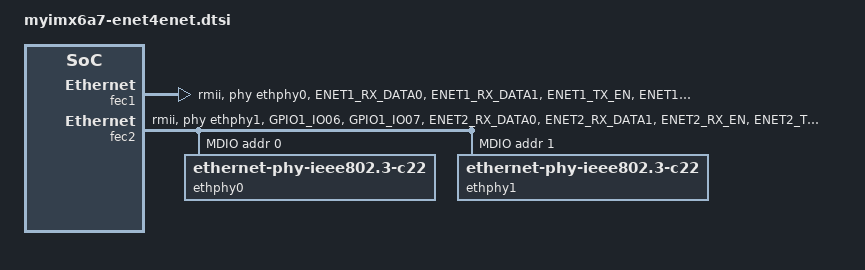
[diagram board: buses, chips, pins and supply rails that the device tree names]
/*
 * MYZR Technology Co.,Ltd
 * http://www.myzr.com.cn
 * Tang Bin <tangb@myzr.com.cn>
 */

&iomuxc {
	myimx6a7-enet-pad {
		pinctrl_gpio_enet2_smi: gpioenet2smigrp {
 			fsl,pins = <
				MX6UL_PAD_GPIO1_IO06__ENET2_MDIO                0x1b0b0
				MX6UL_PAD_GPIO1_IO07__ENET2_MDC                 0x1b0b0
 			>;
		};
		pinctrl_enet1_enet1: enet1_enet1_grp {
  			fsl,pins = <
  				MX6UL_PAD_ENET1_RX_DATA0__ENET1_RDATA00	0x1b0b0
  				MX6UL_PAD_ENET1_RX_DATA1__ENET1_RDATA01	0x1b0b0
  				MX6UL_PAD_ENET1_TX_EN__ENET1_TX_EN		0x1b0b0
  				MX6UL_PAD_ENET1_TX_CLK__ENET1_REF_CLK1	0x4001b031 /* 0x4001b0a0 ? */
  				MX6UL_PAD_ENET1_TX_DATA0__ENET1_TDATA00	0x1b0b0
  				MX6UL_PAD_ENET1_TX_DATA1__ENET1_TDATA01	0x1b0b0
  				MX6UL_PAD_ENET1_RX_ER__ENET1_RX_ER		0x1b0b0
  				MX6UL_PAD_ENET1_RX_EN__ENET1_RX_EN		0x1b0b0
  			>;
  		};
		pinctrl_uart1_enet1_int: uart1_enet1_int_grp {
 			fsl,pins = <
 				MX6UL_PAD_UART1_CTS_B__GPIO1_IO18		0x80000000	/* ENET1 INT */
 			>;
 		};
	
		pinctrl_enet2_enet2: enet2enet2grp {
			fsl,pins = <
				MX6UL_PAD_ENET2_RX_DATA0__ENET2_RDATA00 0x1b0b0
				MX6UL_PAD_ENET2_RX_DATA1__ENET2_RDATA01 0x1b0b0
				MX6UL_PAD_ENET2_RX_EN__ENET2_RX_EN      0x1b0b0
				MX6UL_PAD_ENET2_TX_CLK__ENET2_REF_CLK2  0x4001b031
				MX6UL_PAD_ENET2_TX_DATA0__ENET2_TDATA00 0x1b0b0
				MX6UL_PAD_ENET2_TX_DATA1__ENET2_TDATA01 0x1b0b0
				MX6UL_PAD_ENET2_RX_ER__ENET2_RX_ER      0x1b0b0
				MX6UL_PAD_ENET2_TX_EN__ENET2_TX_EN      0x1b0b0
			>;
		};
		pinctrl_uart1_enet2_int: uart1_enet2_int_grp {
 			fsl,pins = <
 				MX6UL_PAD_UART1_RTS_B__GPIO1_IO19		0x80000000	/* ENET2 INT */
 			>;
 		};
	};
};

&fec1 {
    pinctrl-names = "default";
    pinctrl-0 = <
        &pinctrl_enet1_enet1
        &pinctrl_snvs_enet_rst
        &pinctrl_uart1_enet1_int
    >;
    phy-mode = "rmii";
    phy-reset-gpios = <&gpio5 9 GPIO_ACTIVE_HIGH>;
    phy-handle = <&ethphy0>;
    status = "okay";
};

&fec2 {
    pinctrl-names = "default";
    pinctrl-0 = <
        &pinctrl_gpio_enet2_smi
        &pinctrl_enet2_enet2
        &pinctrl_uart1_enet2_int
    >;
    phy-mode = "rmii";
    phy-handle = <&ethphy1>;
    status = "okay";

    mdio {
        #address-cells = <1>;
        #size-cells = <0>;

        ethphy0: ethernet-phy@0 {
            compatible = "ethernet-phy-ieee802.3-c22";
            reg = <0>;
            max-speed = <100>;
        };

        ethphy1: ethernet-phy@1 {
            compatible = "ethernet-phy-ieee802.3-c22";
            reg = <1>;
            max-speed = <100>;
        };
    };
};

&uart6 {
	status = "disabled";
};

&uart7 {
	status = "disabled";
};

&uart8 {
	status = "disabled";
};
